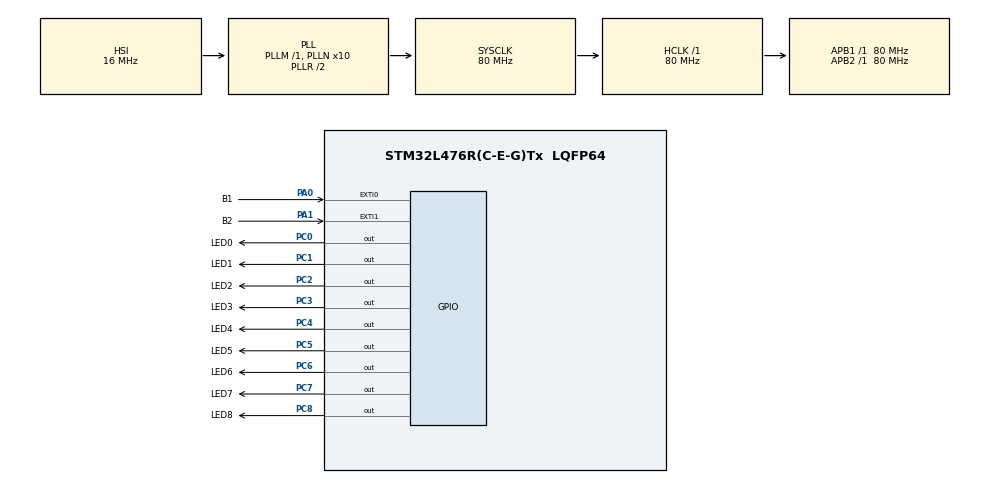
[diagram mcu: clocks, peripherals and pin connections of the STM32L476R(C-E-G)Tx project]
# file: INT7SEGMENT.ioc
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Mcu.Family=STM32L4
Mcu.Name=STM32L476R(C-E-G)Tx
Mcu.Package=LQFP64
NVIC.EXTI0_IRQn=true\:0\:0\:false\:false\:true\:true\:true\:true
NVIC.EXTI1_IRQn=true\:0\:0\:false\:false\:true\:true\:true\:true
NVIC.PriorityGroup=NVIC_PRIORITYGROUP_4
PA0.GPIO_Label=B1
PA0.GPIO_ModeDefaultEXTI=GPIO_MODE_IT_FALLING
PA0.GPIO_PuPd=GPIO_PULLUP
PA0.Signal=GPXTI0
PA1.GPIO_Label=B2
PA1.GPIO_ModeDefaultEXTI=GPIO_MODE_IT_FALLING
PA1.GPIO_PuPd=GPIO_PULLUP
PA1.Signal=GPXTI1
PC0.GPIO_Label=LED0
PC0.Signal=GPIO_Output
PC1.GPIO_Label=LED1
PC1.Signal=GPIO_Output
PC2.GPIO_Label=LED2
PC2.Signal=GPIO_Output
PC3.GPIO_Label=LED3
PC3.Signal=GPIO_Output
PC4.GPIO_Label=LED4
PC4.Signal=GPIO_Output
PC5.GPIO_Label=LED5
PC5.Signal=GPIO_Output
PC6.GPIO_Label=LED6
PC6.Signal=GPIO_Output
PC7.GPIO_Label=LED7
PC7.Signal=GPIO_Output
PC8.GPIO_Label=LED8
PC8.Signal=GPIO_Output
PH0-OSC_IN\ (PH0).Mode=HSE-External-Oscillator
PH0-OSC_IN\ (PH0).Signal=RCC_OSC_IN
PH1-OSC_OUT\ (PH1).Mode=HSE-External-Oscillator
PH1-OSC_OUT\ (PH1).Signal=RCC_OSC_OUT
ProjectManager.HeapSize=0x200
ProjectManager.StackSize=0x400
ProjectManager.TargetToolchain=STM32CubeIDE
RCC.ADCFreq_Value=64000000
RCC.AHBFreq_Value=80000000
RCC.APB1Freq_Value=80000000
RCC.APB1TimFreq_Value=80000000
RCC.APB2Freq_Value=80000000
RCC.APB2TimFreq_Value=80000000
RCC.CortexFreq_Value=80000000
RCC.HCLKFreq_Value=80000000
RCC.HSE_VALUE=8000000
RCC.HSI_VALUE=16000000
RCC.LSE_VALUE=32768
RCC.MSI_VALUE=4000000
RCC.PLLN=10
RCC.PLLSourceVirtual=RCC_PLLSOURCE_HSI
RCC.SYSCLKFreq_VALUE=80000000
RCC.SYSCLKSource=RCC_SYSCLKSOURCE_PLLCLK
RCC.USBFreq_Value=64000000
RCC.VCOOutputFreq_Value=160000000
board=custom

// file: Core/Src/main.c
/* USER CODE BEGIN Header */
/**
  ******************************************************************************
  * @file           : main.c
  * @brief          : Main program body
  ******************************************************************************
  * @attention
  *
  * Copyright (c) 2024 STMicroelectronics.
  * All rights reserved.
  *
  * This software is licensed under terms that can be found in the LICENSE file
  * in the root directory of this software component.
  * If no LICENSE file comes with this software, it is provided AS-IS.
  *
  ******************************************************************************
  */
/* USER CODE END Header */
#include "main.h"

/* USER CODE BEGIN PV */
int LED[]={LED0_Pin,LED1_Pin,LED2_Pin,LED3_Pin,LED4_Pin,LED5_Pin,LED6_Pin,LED7_Pin};
int display[]={0x3F,// 0
		  	  	 0x06,// 1
		  	  	 0x5B,// 2
				 0x4F,// 3
				 0x66,// 4
				 0x6D,// 5
				 0x7D,// 6
				 0x07,// 7
				 0x7F,// 8
				 0x6F};// 9
int lsd,msd,Count=50;
/* USER CODE END PV */

void SystemClock_Config(void);
static void MX_GPIO_Init(void);

int main(void)
{

  /* MCU Configuration--------------------------------------------------------*/

  /* Reset of all peripherals, Initializes the Flash interface and the Systick. */
  HAL_Init();

  /* Configure the system clock */
  SystemClock_Config();

  /* Initialize all configured peripherals */
  MX_GPIO_Init();

  /* Infinite loop */
  /* USER CODE BEGIN WHILE */
  while (1)
  {

	  	  msd=Count/10;
	  	  lsd=Count%10;
	  	  for(int i=0; i<=5;i++)
	  	  {
	  	  GPIOC->ODR = display[msd];
	  	  HAL_GPIO_WritePin(GPIOC, LED8_Pin, 1);
	  	  HAL_Delay(10);
	  	  HAL_GPIO_WritePin(GPIOC, LED8_Pin, 0);

	  	  GPIOC->ODR = display[lsd];
	  	  HAL_GPIO_WritePin(GPIOC, LED7_Pin, 1);
	  	  HAL_Delay(10);
	  	  HAL_GPIO_WritePin(GPIOC, LED7_Pin, 0);
	  	  }

    /* USER CODE END WHILE */

  }
}

void SystemClock_Config(void)
{
  RCC_OscInitTypeDef RCC_OscInitStruct = {0};
  RCC_ClkInitTypeDef RCC_ClkInitStruct = {0};

  /** Configure the main internal regulator output voltage
  */
  if (HAL_PWREx_ControlVoltageScaling(PWR_REGULATOR_VOLTAGE_SCALE1) != HAL_OK)
  {
    Error_Handler();
  }

  /** Initializes the RCC Oscillators according to the specified parameters
  * in the RCC_OscInitTypeDef structure.
  */
  RCC_OscInitStruct.OscillatorType = RCC_OSCILLATORTYPE_HSI;
  RCC_OscInitStruct.HSIState = RCC_HSI_ON;
  RCC_OscInitStruct.HSICalibrationValue = RCC_HSICALIBRATION_DEFAULT;
  RCC_OscInitStruct.PLL.PLLState = RCC_PLL_ON;
  RCC_OscInitStruct.PLL.PLLSource = RCC_PLLSOURCE_HSI;
  RCC_OscInitStruct.PLL.PLLM = 1;
  RCC_OscInitStruct.PLL.PLLN = 10;
  RCC_OscInitStruct.PLL.PLLP = RCC_PLLP_DIV7;
  RCC_OscInitStruct.PLL.PLLQ = RCC_PLLQ_DIV2;
  RCC_OscInitStruct.PLL.PLLR = RCC_PLLR_DIV2;
  if (HAL_RCC_OscConfig(&RCC_OscInitStruct) != HAL_OK)
  {
    Error_Handler();
  }

  /** Initializes the CPU, AHB and APB buses clocks
  */
  RCC_ClkInitStruct.ClockType = RCC_CLOCKTYPE_HCLK|RCC_CLOCKTYPE_SYSCLK
                              |RCC_CLOCKTYPE_PCLK1|RCC_CLOCKTYPE_PCLK2;
  RCC_ClkInitStruct.SYSCLKSource = RCC_SYSCLKSOURCE_PLLCLK;
  RCC_ClkInitStruct.AHBCLKDivider = RCC_SYSCLK_DIV1;
  RCC_ClkInitStruct.APB1CLKDivider = RCC_HCLK_DIV1;
  RCC_ClkInitStruct.APB2CLKDivider = RCC_HCLK_DIV1;

  if (HAL_RCC_ClockConfig(&RCC_ClkInitStruct, FLASH_LATENCY_4) != HAL_OK)
  {
    Error_Handler();
  }
}

static void MX_GPIO_Init(void)
{
  GPIO_InitTypeDef GPIO_InitStruct = {0};

  /* GPIO Ports Clock Enable */
  __HAL_RCC_GPIOH_CLK_ENABLE();
  __HAL_RCC_GPIOC_CLK_ENABLE();
  __HAL_RCC_GPIOA_CLK_ENABLE();

  /*Configure GPIO pin Output Level */
  HAL_GPIO_WritePin(GPIOC, LED0_Pin|LED1_Pin|LED2_Pin|LED3_Pin
                          |LED4_Pin|LED5_Pin|LED6_Pin|LED7_Pin
                          |LED8_Pin, GPIO_PIN_RESET);

  /*Configure GPIO pins : LED0_Pin LED1_Pin LED2_Pin LED3_Pin
                           LED4_Pin LED5_Pin LED6_Pin LED7_Pin
                           LED8_Pin */
  GPIO_InitStruct.Pin = LED0_Pin|LED1_Pin|LED2_Pin|LED3_Pin
                          |LED4_Pin|LED5_Pin|LED6_Pin|LED7_Pin
                          |LED8_Pin;
  GPIO_InitStruct.Mode = GPIO_MODE_OUTPUT_PP;
  GPIO_InitStruct.Pull = GPIO_NOPULL;
  GPIO_InitStruct.Speed = GPIO_SPEED_FREQ_LOW;
  HAL_GPIO_Init(GPIOC, &GPIO_InitStruct);

  /*Configure GPIO pins : B1_Pin B2_Pin */
  GPIO_InitStruct.Pin = B1_Pin|B2_Pin;
  GPIO_InitStruct.Mode = GPIO_MODE_IT_FALLING;
  GPIO_InitStruct.Pull = GPIO_PULLUP;
  HAL_GPIO_Init(GPIOA, &GPIO_InitStruct);

  /* EXTI interrupt init*/
  HAL_NVIC_SetPriority(EXTI0_IRQn, 0, 0);
  HAL_NVIC_EnableIRQ(EXTI0_IRQn);

  HAL_NVIC_SetPriority(EXTI1_IRQn, 0, 0);
  HAL_NVIC_EnableIRQ(EXTI1_IRQn);

}

/* USER CODE BEGIN 4 */
void HAL_GPIO_EXTI_Callback(uint16_t GPIO_Pin)
{
if (GPIO_Pin==B1_Pin)
{
Count++;
if(Count==100)Count=0;
}
if (GPIO_Pin==B2_Pin)
{
Count--;
if(Count==0)Count=99;
}
}
/* USER CODE END 4 */

void Error_Handler(void)
{
  __disable_irq();
  while (1)
  {
  }
}
